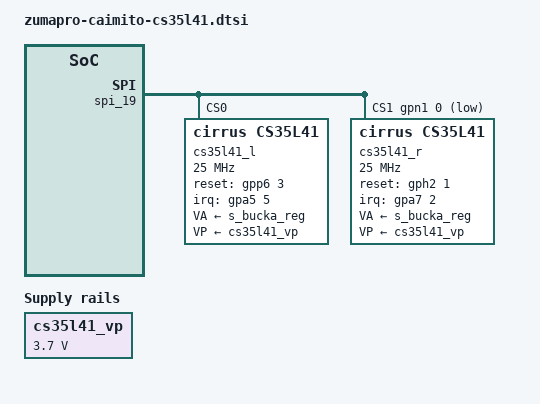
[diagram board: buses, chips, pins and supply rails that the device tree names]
// SPDX-License-Identifier: GPL-2.0-only
/*
 * Audio for the boards that carry the AOC-routed CS35L41 audio amplifiers:
 * caiman, komodo, tokay and comet (tegu uses a different part).
 *
 * Copyright 2025 Trijal Saha - <trijalsaha2012@gmail.com>
 */

#include <dt-bindings/gpio/gpio.h>

/ {
	/*
	 * AOC-routed audio.  The AOC does the DSP and drives the speaker amps;
	 * this card streams PCM to it over the audio IPC rings.  Regless: it is
	 * a software card, not a device.
	 */
	aoc_sound: aoc-sound {
		compatible = "google,aoc-sound";
		aoc = <&aoc>;

		/* Both amplifiers listening to the AOC's TDM: left on slot 0,
		 * right on slot 1.
		 */
		speakers {
			sound-dai = <&cs35l41_l 0>, <&cs35l41_r 0>;
		};
	};

	/* VP is the battery, which is always there and has nothing to model. */
	cs35l41_vp: regulator-cs35l41-vp {
		compatible = "regulator-fixed";
		regulator-name = "cs35l41-vp";
		regulator-min-microvolt = <3700000>;
		regulator-max-microvolt = <3700000>;
		regulator-always-on;
	};
};

/*
 * Stereo speaker amplifiers: two CS35L41 on spi_19 (HSI0 USI1).  The AOC
 * drives them over TDM; this bus is only their SPI control link.  The left
 * amp uses the controller's native chip select; the right amp's is a GPIO
 * (gpn1-0) driven in the manual chip-select mode the Samsung SPI needs.
 */
&spi_19 {
	status = "okay";
	num-cs = <2>;
	cs-gpios = <0>, <&gpn1 0 GPIO_ACTIVE_LOW>;

	/*
	 * The left amp is on the controller's native chip select, the right
	 * on a GPIO (gpn1-0) driven in the manual chip-select mode the Samsung
	 * SPI needs.
	 */
	cs35l41_l: cs35l41@0 {
		compatible = "cirrus,cs35l41";
		reg = <0>;
		#sound-dai-cells = <1>;
		spi-max-frequency = <25000000>;

		/*
		 * The reset line, gpp6-3, is the SPI3 chip-select pad and comes
		 * up in its peripheral function; mux it to GPIO output (the
		 * spi3_cs config does exactly that) or the reset never drives and
		 * the amp hangs in reset (OTP boot never completes).
		 */
		pinctrl-names = "default";
		pinctrl-0 = <&spi3_cs>;

		interrupt-parent = <&gpa5>;
		interrupts = <5 IRQ_TYPE_LEVEL_LOW>;
		reset-gpios = <&gpp6 3 GPIO_ACTIVE_HIGH>;

		VA-supply = <&s_bucka_reg>;
		VP-supply = <&cs35l41_vp>;

		cirrus,boost-peak-milliamp = <3500>;
		cirrus,boost-ind-nanohenry = <1000>;
		cirrus,boost-cap-microfarad = <4>;
		cirrus,asp-sdout-hiz = <3>;

		/*
		 * GPIO2 is the interrupt line, and idles high impedance until
		 * it is told what it is for.  Leave it a GPIO input: the pad's
		 * interrupt function drives it, and making it an output would
		 * have it hold the line low itself.
		 */
		cirrus,gpio2-src-select = <2>;	/* open drain INTB */

		controller-data {
			samsung,spi-feedback-delay = <1>;
			samsung,spi-chip-select-mode = <0>;
		};
	};

	cs35l41_r: cs35l41@1 {
		compatible = "cirrus,cs35l41";
		reg = <1>;
		#sound-dai-cells = <1>;
		sound-name-prefix = "R";
		spi-max-frequency = <25000000>;

		interrupt-parent = <&gpa7>;
		interrupts = <2 IRQ_TYPE_LEVEL_LOW>;
		reset-gpios = <&gph2 1 GPIO_ACTIVE_HIGH>;

		VA-supply = <&s_bucka_reg>;
		VP-supply = <&cs35l41_vp>;

		cirrus,boost-peak-milliamp = <3500>;
		cirrus,boost-ind-nanohenry = <1000>;
		cirrus,boost-cap-microfarad = <4>;
		cirrus,asp-sdout-hiz = <3>;

		/*
		 * GPIO2 is the interrupt line, and idles high impedance until
		 * it is told what it is for.  Leave it a GPIO input: the pad's
		 * interrupt function drives it, and making it an output would
		 * have it hold the line low itself.
		 */
		cirrus,gpio2-src-select = <2>;	/* open drain INTB */
		cirrus,right-channel-amp;

		controller-data {
			samsung,spi-feedback-delay = <1>;
			samsung,spi-chip-select-mode = <2>;
		};
	};
};
